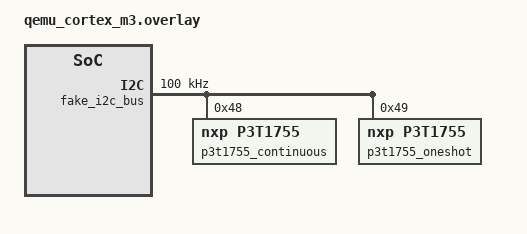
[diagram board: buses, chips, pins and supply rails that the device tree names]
/*
 * Copyright 2026 NXP
 * SPDX-License-Identifier: Apache-2.0
 */

#include <zephyr/dt-bindings/i2c/i2c.h>

/ {
	aliases {
		p3t1755 = &p3t1755_continuous;
		p3t1755-oneshot = &p3t1755_oneshot;
	};

	fake_i2c_bus: i2c@100 {
		compatible = "zephyr,i2c-emul-controller";
		reg = <0x100 4>;
		clock-frequency = <I2C_BITRATE_STANDARD>;
		#address-cells = <1>;
		#size-cells = <0>;
		status = "okay";

		p3t1755_continuous: p3t1755@48 {
			compatible = "nxp,p3t1755";
			reg = <0x48>;
		};

		p3t1755_oneshot: p3t1755@49 {
			compatible = "nxp,p3t1755";
			reg = <0x49>;
			oneshot-mode;
		};
	};
};
